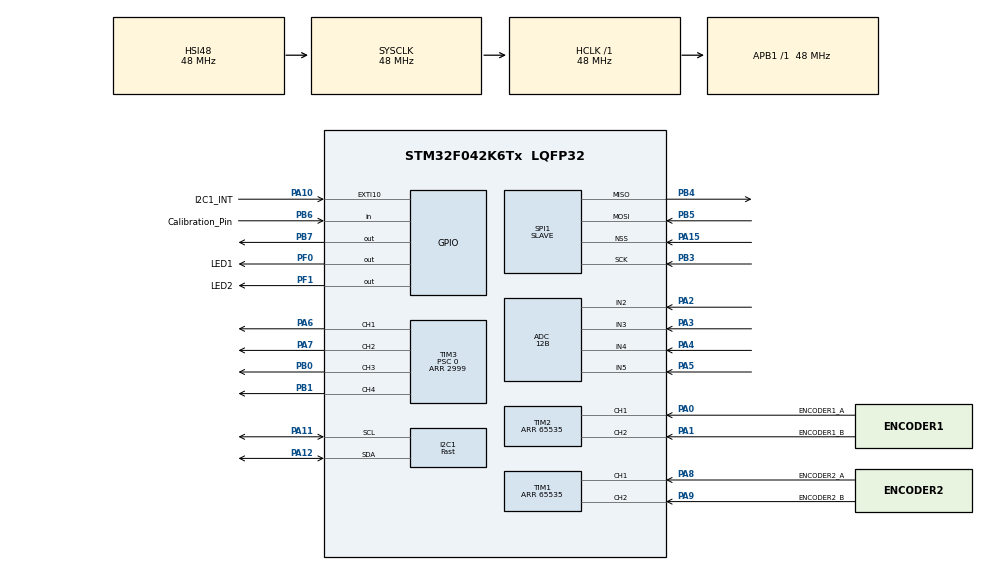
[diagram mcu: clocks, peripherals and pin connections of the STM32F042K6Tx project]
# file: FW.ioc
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ADC.ClockPrescaler=ADC_CLOCK_ASYNC_DIV1
ADC.ContinuousConvMode=ENABLE
ADC.DMAContinuousRequests=ENABLE
ADC.DataAlign=ADC_DATAALIGN_RIGHT
ADC.DiscontinuousConvMode=DISABLE
ADC.EOCSelection=ADC_EOC_SINGLE_CONV
ADC.EnableAnalogWatchDog=false
ADC.ExternalTrigConv=ADC_SOFTWARE_START
ADC.ExternalTrigConvEdge=ADC_EXTERNALTRIGCONVEDGE_NONE
ADC.LowPowerAutoPowerOff=DISABLE
ADC.LowPowerAutoWait=DISABLE
ADC.Overrun=ADC_OVR_DATA_PRESERVED
ADC.Resolution=ADC_RESOLUTION_12B
ADC.SamplingTime=ADC_SAMPLETIME_239CYCLES_5
ADC.ScanConvMode=ADC_SCAN_DIRECTION_FORWARD
Dma.ADC.0.Direction=DMA_PERIPH_TO_MEMORY
Dma.ADC.0.Instance=DMA1_Channel1
Dma.ADC.0.MemDataAlignment=DMA_MDATAALIGN_HALFWORD
Dma.ADC.0.MemInc=DMA_MINC_ENABLE
Dma.ADC.0.Mode=DMA_CIRCULAR
Dma.ADC.0.PeriphDataAlignment=DMA_PDATAALIGN_HALFWORD
Dma.ADC.0.PeriphInc=DMA_PINC_DISABLE
Dma.ADC.0.Priority=DMA_PRIORITY_LOW
Dma.Request0=ADC
Dma.Request1=SPI1_RX
Dma.Request2=SPI1_TX
Dma.SPI1_RX.1.Direction=DMA_PERIPH_TO_MEMORY
Dma.SPI1_RX.1.Instance=DMA1_Channel2
Dma.SPI1_RX.1.MemDataAlignment=DMA_MDATAALIGN_BYTE
Dma.SPI1_RX.1.MemInc=DMA_MINC_ENABLE
Dma.SPI1_RX.1.Mode=DMA_NORMAL
Dma.SPI1_RX.1.PeriphDataAlignment=DMA_PDATAALIGN_BYTE
Dma.SPI1_RX.1.PeriphInc=DMA_PINC_DISABLE
Dma.SPI1_RX.1.Priority=DMA_PRIORITY_VERY_HIGH
Dma.SPI1_TX.2.Direction=DMA_MEMORY_TO_PERIPH
Dma.SPI1_TX.2.Instance=DMA1_Channel3
Dma.SPI1_TX.2.MemDataAlignment=DMA_MDATAALIGN_BYTE
Dma.SPI1_TX.2.MemInc=DMA_MINC_ENABLE
Dma.SPI1_TX.2.Mode=DMA_NORMAL
Dma.SPI1_TX.2.PeriphDataAlignment=DMA_PDATAALIGN_BYTE
Dma.SPI1_TX.2.PeriphInc=DMA_PINC_DISABLE
Dma.SPI1_TX.2.Priority=DMA_PRIORITY_VERY_HIGH
I2C1.I2C_Speed_Mode=I2C_Fast
I2C1.Timing=0x0000020B
IWDG.Prescaler=IWDG_PRESCALER_4
IWDG.Reload=100
IWDG.Window=100
Mcu.Family=STM32F0
Mcu.Name=STM32F042K6Tx
Mcu.Package=LQFP32
NVIC.DMA1_Channel1_IRQn=true\:1\:0\:true\:false\:true\:false
NVIC.DMA1_Channel2_3_IRQn=true\:0\:0\:false\:false\:true\:false
NVIC.EXTI4_15_IRQn=true\:3\:0\:true\:false\:true\:true
NVIC.SPI1_IRQn=true\:0\:0\:true\:false\:true\:true
NVIC.TIM17_IRQn=true\:2\:0\:true\:false\:true\:false
NVIC.TimeBase=TIM17_IRQn
NVIC.TimeBaseIP=TIM17
PA0.GPIO_Label=ENCODER1_A
PA0.Signal=S_TIM2_CH1_ETR
PA1.GPIO_Label=ENCODER1_B
PA1.Signal=S_TIM2_CH2
PA10.GPIO_Label=I2C1_INT
PA10.GPIO_ModeDefaultEXTI=GPIO_MODE_IT_RISING
PA10.GPIO_PuPd=GPIO_PULLDOWN
PA10.Signal=GPXTI10
PA11.Mode=I2C
PA11.Signal=I2C1_SCL
PA12.Mode=I2C
PA12.Signal=I2C1_SDA
PA13.Mode=Serial_Wire
PA13.Signal=SYS_SWDIO
PA14.Mode=Serial_Wire
PA14.Signal=SYS_SWCLK
PA15.GPIO_PuPd=GPIO_PULLDOWN
PA15.Mode=NSS_Signal_Hard_Input
PA15.Signal=SPI1_NSS
PA2.Mode=IN2
PA2.Signal=ADC_IN2
PA3.Mode=IN3
PA3.Signal=ADC_IN3
PA4.Mode=IN4
PA4.Signal=ADC_IN4
PA5.Mode=IN5
PA5.Signal=ADC_IN5
PA6.Signal=S_TIM3_CH1
PA7.Signal=S_TIM3_CH2
PA8.GPIO_Label=ENCODER2_A
PA8.Signal=S_TIM1_CH1
PA9.GPIO_Label=ENCODER2_B
PA9.Signal=S_TIM1_CH2
PB0.Signal=S_TIM3_CH3
PB1.Signal=S_TIM3_CH4
PB3.Mode=Full_Duplex_Slave
PB3.Signal=SPI1_SCK
PB4.Mode=Full_Duplex_Slave
PB4.Signal=SPI1_MISO
PB5.Mode=Full_Duplex_Slave
PB5.Signal=SPI1_MOSI
PB6.GPIO_Label=Calibration_Pin
PB6.GPIO_PuPd=GPIO_PULLUP
PB6.Signal=GPIO_Input
PB7.Signal=GPIO_Output
PF0-OSC_IN.GPIO_Label=LED1
PF0-OSC_IN.Signal=GPIO_Output
PF1-OSC_OUT.GPIO_Label=LED2
PF1-OSC_OUT.Signal=GPIO_Output
ProjectManager.HeapSize=0x200
ProjectManager.StackSize=0x400
ProjectManager.TargetToolchain=MDK-ARM V5
RCC.AHBFreq_Value=48000000
RCC.APB1Freq_Value=48000000
RCC.APB1TimFreq_Value=48000000
RCC.HCLKFreq_Value=48000000
RCC.SYSCLKFreq_VALUE=48000000
RCC.SYSCLKSource=RCC_SYSCLKSOURCE_HSI48
SH.S_TIM1_CH1.0=TIM1_CH1,Encoder_Interface
SH.S_TIM1_CH2.0=TIM1_CH2,Encoder_Interface
SH.S_TIM2_CH1_ETR.0=TIM2_CH1,Encoder_Interface
SH.S_TIM2_CH2.0=TIM2_CH2,Encoder_Interface
SH.S_TIM3_CH1.0=TIM3_CH1,PWM Generation1 CH1
SH.S_TIM3_CH2.0=TIM3_CH2,PWM Generation2 CH2
SH.S_TIM3_CH3.0=TIM3_CH3,PWM Generation3 CH3
SH.S_TIM3_CH4.0=TIM3_CH4,PWM Generation4 CH4
SPI1.DataSize=SPI_DATASIZE_8BIT
SPI1.Direction=SPI_DIRECTION_2LINES
SPI1.Mode=SPI_MODE_SLAVE
SPI1.TIMode=SPI_TIMODE_DISABLE
SPI1.VirtualNSS=VM_NSSHARD
SPI1.VirtualType=VM_SLAVE
TIM1.EncoderMode=TIM_ENCODERMODE_TI12
TIM1.IC1Filter=8
TIM1.IC2Filter=8
TIM1.Period=65535
TIM2.EncoderMode=TIM_ENCODERMODE_TI12
TIM2.IC1Filter=8
TIM2.IC2Filter=8
TIM2.Period=65535
TIM3.Channel-PWM\ Generation1\ CH1=TIM_CHANNEL_1
TIM3.Channel-PWM\ Generation2\ CH2=TIM_CHANNEL_2
TIM3.Channel-PWM\ Generation3\ CH3=TIM_CHANNEL_3
TIM3.Channel-PWM\ Generation4\ CH4=TIM_CHANNEL_4
TIM3.CounterMode=TIM_COUNTERMODE_UP
TIM3.Period=2999
TIM3.Prescaler=0
VP_IWDG_VS_IWDG.Mode=IWDG_Activate
VP_SYS_VS_tim17.Mode=TIM17
board=FW

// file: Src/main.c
/**
  ******************************************************************************
  * File Name          : main.c
  * Description        : Main program body
  ******************************************************************************
  ** This notice applies to any and all portions of this file
  * that are not between comment pairs USER CODE BEGIN and
  * USER CODE END. Other portions of this file, whether
  * inserted by the user or by software development tools
  * are owned by their respective copyright owners.
  *
  * COPYRIGHT(c) 2017 STMicroelectronics
  *
  * Redistribution and use in source and binary forms, with or without modification,
  * are permitted provided that the following conditions are met:
  *   1. Redistributions of source code must retain the above copyright notice,
  *      this list of conditions and the following disclaimer.
  *   2. Redistributions in binary form must reproduce the above copyright notice,
  *      this list of conditions and the following disclaimer in the documentation
  *      and/or other materials provided with the distribution.
  *   3. Neither the name of STMicroelectronics nor the names of its contributors
  *      may be used to endorse or promote products derived from this software
  *      without specific prior written permission.
  *
  * THIS SOFTWARE IS PROVIDED BY THE COPYRIGHT HOLDERS AND CONTRIBUTORS "AS IS"
  * AND ANY EXPRESS OR IMPLIED WARRANTIES, INCLUDING, BUT NOT LIMITED TO, THE
  * IMPLIED WARRANTIES OF MERCHANTABILITY AND FITNESS FOR A PARTICULAR PURPOSE ARE
  * DISCLAIMED. IN NO EVENT SHALL THE COPYRIGHT HOLDER OR CONTRIBUTORS BE LIABLE
  * FOR ANY DIRECT, INDIRECT, INCIDENTAL, SPECIAL, EXEMPLARY, OR CONSEQUENTIAL
  * DAMAGES (INCLUDING, BUT NOT LIMITED TO, PROCUREMENT OF SUBSTITUTE GOODS OR
  * SERVICES; LOSS OF USE, DATA, OR PROFITS; OR BUSINESS INTERRUPTION) HOWEVER
  * CAUSED AND ON ANY THEORY OF LIABILITY, WHETHER IN CONTRACT, STRICT LIABILITY,
  * OR TORT (INCLUDING NEGLIGENCE OR OTHERWISE) ARISING IN ANY WAY OUT OF THE USE
  * OF THIS SOFTWARE, EVEN IF ADVISED OF THE POSSIBILITY OF SUCH DAMAGE.
  *
  ******************************************************************************
  */

#include "main.h"
#include "stm32f0xx_hal.h"

/* USER CODE BEGIN Includes */

#include "eeprom.h"
/* Virtual address defined by the user: 0xFFFF value is prohibited */
uint16_t VirtAddVarTab[NB_OF_VAR] = {0x0010, 0x0020, 0x0030, 0x0040, 0x0050};
uint16_t VarDataTab[NB_OF_VAR] = {0, 0, 0, 0, 0};
uint16_t VarValue = 0;

#define rr           	            0x01
#define PD_Controller           	0x02
#define Enable_Motor 							0x04
#define PI_Steering						    0x08
#define Car_mode                  0x10
#define acc_calibation_mode       0x20
#define gyro_calibation_mode      0x40
#define Manual_Motor_control 			0x80

/* USER CODE END Includes */

ADC_HandleTypeDef hadc;
DMA_HandleTypeDef hdma_adc;

I2C_HandleTypeDef hi2c1;

IWDG_HandleTypeDef hiwdg;

SPI_HandleTypeDef hspi1;
DMA_HandleTypeDef hdma_spi1_rx;
DMA_HandleTypeDef hdma_spi1_tx;

TIM_HandleTypeDef htim1;
TIM_HandleTypeDef htim2;
TIM_HandleTypeDef htim3;

/* USER CODE BEGIN PV */
/* Private variables ---------------------------------------------------------*/

/* USER CODE END PV */

void SystemClock_Config(void);
static void MX_GPIO_Init(void);
static void MX_DMA_Init(void);
static void MX_ADC_Init(void);
static void MX_I2C1_Init(void);
static void MX_IWDG_Init(void);
static void MX_SPI1_Init(void);
static void MX_TIM1_Init(void);
static void MX_TIM2_Init(void);
static void MX_TIM3_Init(void);

void HAL_TIM_MspPostInit(TIM_HandleTypeDef *htim);

/* USER CODE BEGIN PFP */
/* Private function prototypes -----------------------------------------------*/

typedef struct __attribute((__packed__))Control_data{

		uint16_t mode;  // / BIT define 7:   6:    5:    4:Car   3:ON/OFF PI Steering Controller    2:ON/OFF Motors     1:ON/OFF PD Angle Controller    0:Set Calibate Sensor Offset

	uint16_t AreRobotStanding;

		int16_t Pitch_Ref, Steering_Ref;

		int16_t Power_MotorL, Power_MotorR;

		int16_t roll, pitch, yaw;

		int16_t GyroX, GyroY, GyroZ;

		int16_t AccX, AccY, AccZ;

		int16_t OffsetGyroX, OffsetGyroY, OffsetGyroZ;

		int16_t OffsetAccX, OffsetAccY, OffsetAccZ;

		uint16_t VR1, VR2, VR3, VR4;

		int32_t Position_motorL, Position_motorR;

}Control_data;

Control_data State_data;

float Ramp;

float Robot_speed  = 0;
float Wheel_L_speed  = 0;
float Wheel_R_speed  = 0;

float cal_pitch ;
float cal_roll  ;
float turn_speed;
float turn  ;
float motor_A_tmp ;
float motor_B_tmp ;
float motor_Y_tmp ;
float error_turn;
float error_turn_sum;
float Robot_Target_Angle;

void Read_epprom(void){
  HAL_FLASH_Unlock();
  EE_Init();

  EE_ReadVariable(VirtAddVarTab[0], (uint16_t*)&(State_data.OffsetAccX));
  EE_ReadVariable(VirtAddVarTab[1], (uint16_t*)&(State_data.OffsetAccY));
  EE_ReadVariable(VirtAddVarTab[2], (uint16_t*)&(State_data.OffsetGyroX));
  EE_ReadVariable(VirtAddVarTab[3], (uint16_t*)&(State_data.OffsetGyroY));
  EE_ReadVariable(VirtAddVarTab[4], (uint16_t*)&(State_data.OffsetGyroZ));
	HAL_FLASH_Lock();
}

void Write_epprom(void){
  HAL_FLASH_Unlock();
  EE_Init();

	EE_WriteVariable(VirtAddVarTab[0], (uint16_t)(State_data.OffsetAccX));
	EE_WriteVariable(VirtAddVarTab[1], (uint16_t)(State_data.OffsetAccY));
	EE_WriteVariable(VirtAddVarTab[2], (uint16_t)(State_data.OffsetGyroX));
	EE_WriteVariable(VirtAddVarTab[3], (uint16_t)(State_data.OffsetGyroY));
	EE_WriteVariable(VirtAddVarTab[4], (uint16_t)(State_data.OffsetGyroZ));
	HAL_FLASH_Lock();
}

/* USER CODE END PFP */

/* USER CODE BEGIN 0 */

int32_t EncoderL, EncoderR;
const uint8_t AdcBufferSize = 40 ;
uint16_t ADC_Raw_Data[AdcBufferSize] = {0};
uint16_t VR_Data[4] = {0};
uint8_t Blink_led1_freq = 80;
uint8_t Cal_pin = 0, cal_gyro_man = 0, cal_acc_man = 0;

#include "bs_bb_lib.h"

/* USER CODE END 0 */

int main(void)
{

  /* USER CODE BEGIN 1 */
	State_data.mode = 0;
  /* USER CODE END 1 */

  /* MCU Configuration----------------------------------------------------------*/

  /* Reset of all peripherals, Initializes the Flash interface and the Systick. */
  HAL_Init();

  /* Configure the system clock */
  SystemClock_Config();

  /* Initialize all configured peripherals */
  MX_GPIO_Init();
  MX_DMA_Init();
  MX_ADC_Init();
  MX_I2C1_Init();
 // MX_IWDG_Init();
  MX_SPI1_Init();
  MX_TIM1_Init();
  MX_TIM2_Init();
  MX_TIM3_Init();

  /* USER CODE BEGIN 2 */

	HAL_SPI_Receive_DMA(&hspi1, (uint8_t*)&spi_rx_cmd, 1);

	/* EEPROM Init */

	Read_epprom();

	HAL_ADC_Start_DMA(&hadc, (uint32_t*)ADC_Raw_Data, AdcBufferSize);
	HAL_TIM_Encoder_Start(&htim1, TIM_CHANNEL_ALL);
	HAL_TIM_Encoder_Start(&htim2, TIM_CHANNEL_ALL);

	TIM1->CNT = 15000;
	TIM2->CNT = 15000;

	HAL_TIM_PWM_Start(&htim3,TIM_CHANNEL_1);
	HAL_TIM_PWM_Start(&htim3,TIM_CHANNEL_2);
	HAL_TIM_PWM_Start(&htim3,TIM_CHANNEL_3);
	HAL_TIM_PWM_Start(&htim3,TIM_CHANNEL_4);

	Initial_MPU6050();

  /* USER CODE END 2 */

  /* Infinite loop */
  /* USER CODE BEGIN WHILE */

	HAL_GPIO_WritePin(LED1_GPIO_Port, LED1_Pin, GPIO_PIN_SET);
	HAL_GPIO_WritePin(LED2_GPIO_Port, LED2_Pin, GPIO_PIN_SET);
	HAL_Delay(200);

	HAL_GPIO_WritePin(LED1_GPIO_Port, LED1_Pin, GPIO_PIN_RESET);
	HAL_GPIO_WritePin(LED2_GPIO_Port, LED2_Pin, GPIO_PIN_RESET);

	int count = 0;

	uint32_t timenow, time1, time2;

	MX_IWDG_Init();
  while (1)
  {
  /* USER CODE END WHILE */

  /* USER CODE BEGIN 3 */
		HAL_IWDG_Refresh(&hiwdg);
		timenow = milli();

//		if(timenow - time1 >= 20){
//			time1 = timenow;
//
//			float dR =  ((int)TIM2->CNT - 15000);
//			float dL = -((int)TIM1->CNT - 15000);
//			TIM2->CNT = 15000;
//			TIM1->CNT = 15000;
//
//			EncoderR += dR;
//			EncoderL += dL;
//
//			Wheel_R_speed  = (int)Smooth_filter(0.4f, dR, Wheel_R_speed);
//			Wheel_L_speed  = (int)Smooth_filter(0.4f, dL, Wheel_L_speed);
//
//			Robot_speed  = Smooth_filter(0.1f, (dR+dL) * 0.5f, Robot_speed);
//
//
//			speed = Smooth_filter(0.3f, (float)ch2*0.9f, speed);
//			turn = Smooth_filter(0.3f, (float)ch1*0.8f, turn);
//
//			if(((State_data.mode)&(0x01<<3)) == PI_Controller) {
//
//				error_speed = constrain(Kp_Speed *(-speed + Robot_speed), -15, 15);
//				error_speed_sum = constrain((error_speed_sum + error_speed * 0.02f), -20/Ki_Speed, 20/Ki_Speed);
//				Robot_Target_Angle = constrain(Ki_Speed * error_speed_sum + error_speed, -25, 25);
//
//			}
//		}

		if(_Sampling_task_do){
			static float buffer_az;
			_Sampling_task_do = 0;

			int16_t dL =  ((int)TIM2->CNT - 15000);
			int16_t dR = -((int)TIM1->CNT - 15000);
			TIM2->CNT = 15000;
			TIM1->CNT = 15000;

			State_data.Position_motorL += dL;
			State_data.Position_motorR += dR;

			Read_MPU6050();
			AHRS();

			buffer_az = Smooth_filter(0.2f, (float)rawAccx_Z/ACCELEROMETER_SENSITIVITY, buffer_az);
			State_data.AreRobotStanding = (abs_user(q_pitch) < 500) && (buffer_az < 0);

			if(((State_data.mode)&(PD_Controller)) == PD_Controller) {

				float Buf_D_Errer_pitch = Errer_pitch;

				Robot_Target_Angle = constrain((float)State_data.Pitch_Ref * 0.1f, -45, 45);

				cal_pitch = Smooth_filter(0.95f, (float)q_pitch*0.1f, cal_pitch);
				cal_roll = Smooth_filter(0.95f, (float)q_roll*0.1f, cal_roll);

				Errer_pitch =  - Robot_Target_Angle + (float)cal_pitch;

				D_Error_pitch = Butterworth_filter(&filed_pitch,(Errer_pitch-Buf_D_Errer_pitch) * sampleFreq * 0.1f);

				Del_pitch	= (Kp_pitch * Errer_pitch) + (Kd_pitch * D_Error_pitch);

			} else{

				Del_pitch = constrain((float)State_data.Pitch_Ref, -2999, 2999);

			}

			if(((State_data.mode)&(PI_Steering)) == PI_Steering) {
				static float cal_yaw;

				turn = constrain((float)State_data.Steering_Ref * 0.1f, -2000, 2000);
				cal_yaw = Smooth_filter(0.90f, ((float)rawGyrox_Z)/GYROSCOPE_SENSITIVITY, cal_yaw);
				Error_yaw = turn - (cal_yaw);

				if(((State_data.mode)&(Enable_Motor)) == Enable_Motor){
					Sum_Error_yaw = constrain(Sum_Error_yaw + Error_yaw*period_dt, -300/Ki_yaw, 300/Ki_yaw);
				}else{
					Sum_Error_yaw = 0;
				}

				Del_yaw = (Error_yaw*Kp_yaw) + (Sum_Error_yaw*Ki_yaw);
			}else{

				Del_yaw = constrain((float)State_data.Steering_Ref, -2999, 2999);
			}

			motor_Y_tmp =  constrain(motor_Y_tmp + (float)Del_yaw  *0.02f, -2000, 2000);
			motor_A_tmp =  constrain(motor_A_tmp + (float)Del_pitch*0.02f, -2999, 2999);
			motor_B_tmp =  constrain(motor_B_tmp + (float)Del_pitch*0.02f, -2999, 2999);

			if(((State_data.mode)&(Car_mode)) == Car_mode){

				if(Robot_speed>0){

					motor_L = motor_A_tmp  + motor_Y_tmp;
					motor_R = motor_B_tmp  - motor_Y_tmp;

				}else{

					motor_L = motor_A_tmp  - motor_Y_tmp;
					motor_R = motor_B_tmp  + motor_Y_tmp;
				}

			}else{
				motor_L = motor_A_tmp  + motor_Y_tmp;
				motor_R = motor_B_tmp  - motor_Y_tmp;
			}

			if(timenow > 3000){

				if(Ramp < 1) Ramp += 0.004f;

				motor_L *=  Ramp;
				motor_R *=  Ramp;

				if(((State_data.mode)&(Manual_Motor_control)) == Manual_Motor_control){

					motor_L =  State_data.Power_MotorL;
					motor_R =  State_data.Power_MotorR;;

				}else{

				}

				if(((State_data.mode)&(Enable_Motor)) == Enable_Motor) {

					Drive_motor_output();

				}else{
					Ramp = 0;
					motor_Y_tmp =  0;
					motor_A_tmp =  0;
					motor_B_tmp =  0;

					motor_L =  0;
					motor_R =  0;

					Drive_motor_output();
				}
			}

			count++;
			if(count>Blink_led1_freq){
				count = 0;
				HAL_GPIO_WritePin(LED1_GPIO_Port, LED1_Pin, GPIO_PIN_SET);
				HAL_Delay(1);
				HAL_GPIO_WritePin(LED1_GPIO_Port, LED1_Pin, GPIO_PIN_RESET);
			}

		}

		if(timenow - time1 >= 10){
			time1 = timenow;
			uint32_t VR_Sum[4] = {0};
			for(int x = 0; x < (AdcBufferSize/4); x++){
				VR_Sum[0] += ADC_Raw_Data[x*4 + 0];
				VR_Sum[1] += ADC_Raw_Data[x*4 + 1];
				VR_Sum[2] += ADC_Raw_Data[x*4 + 2];
				VR_Sum[3] += ADC_Raw_Data[x*4 + 3];
			}

			for(int x = 0; x < 4; x++){
				VR_Data[x] = VR_Sum[x] / (AdcBufferSize/4);
			}

			State_data.VR1 = VR_Data[0];
			State_data.VR2 = VR_Data[1];
			State_data.VR3 = VR_Data[2];
			State_data.VR4 = VR_Data[3];

			Kp_pitch = (float)VR_Data[0] * 0.1f;
			Kd_pitch = (float)VR_Data[1] * 0.1f;
			Kp_yaw =   (float)VR_Data[2] * 0.015f;
			Ki_yaw =   (float)VR_Data[3] * 0.001f;

			Cal_pin = Cal_pin << 1;

			if( HAL_GPIO_ReadPin(Calibration_Pin_GPIO_Port, Calibration_Pin_Pin) ==  GPIO_PIN_RESET){
				Cal_pin = Cal_pin | 0x01;
			}

			if(Cal_pin == 0x0F) {
				cal_gyro_man = 1;
				cal_acc_man  = 1;
			}

		}

		if(timenow - time2 >= 10){
			time2 = timenow;
			HAL_GPIO_WritePin(LED2_GPIO_Port, LED2_Pin, GPIO_PIN_RESET);
		}
  }
  /* USER CODE END 3 */

}

/** System Clock Configuration
*/
void SystemClock_Config(void)
{

  RCC_OscInitTypeDef RCC_OscInitStruct;
  RCC_ClkInitTypeDef RCC_ClkInitStruct;
  RCC_PeriphCLKInitTypeDef PeriphClkInit;

    /**Initializes the CPU, AHB and APB busses clocks
    */
  RCC_OscInitStruct.OscillatorType = RCC_OSCILLATORTYPE_HSI|RCC_OSCILLATORTYPE_HSI14
                              |RCC_OSCILLATORTYPE_HSI48|RCC_OSCILLATORTYPE_LSI;
  RCC_OscInitStruct.HSIState = RCC_HSI_ON;
  RCC_OscInitStruct.HSI48State = RCC_HSI48_ON;
  RCC_OscInitStruct.HSI14State = RCC_HSI14_ON;
  RCC_OscInitStruct.HSICalibrationValue = 16;
  RCC_OscInitStruct.HSI14CalibrationValue = 16;
  RCC_OscInitStruct.LSIState = RCC_LSI_ON;
  RCC_OscInitStruct.PLL.PLLState = RCC_PLL_NONE;
  if (HAL_RCC_OscConfig(&RCC_OscInitStruct) != HAL_OK)
  {
    _Error_Handler(__FILE__, __LINE__);
  }

    /**Initializes the CPU, AHB and APB busses clocks
    */
  RCC_ClkInitStruct.ClockType = RCC_CLOCKTYPE_HCLK|RCC_CLOCKTYPE_SYSCLK
                              |RCC_CLOCKTYPE_PCLK1;
  RCC_ClkInitStruct.SYSCLKSource = RCC_SYSCLKSOURCE_HSI48;
  RCC_ClkInitStruct.AHBCLKDivider = RCC_SYSCLK_DIV1;
  RCC_ClkInitStruct.APB1CLKDivider = RCC_HCLK_DIV1;

  if (HAL_RCC_ClockConfig(&RCC_ClkInitStruct, FLASH_LATENCY_1) != HAL_OK)
  {
    _Error_Handler(__FILE__, __LINE__);
  }

  PeriphClkInit.PeriphClockSelection = RCC_PERIPHCLK_I2C1;
  PeriphClkInit.I2c1ClockSelection = RCC_I2C1CLKSOURCE_HSI;
  if (HAL_RCCEx_PeriphCLKConfig(&PeriphClkInit) != HAL_OK)
  {
    _Error_Handler(__FILE__, __LINE__);
  }

    /**Configure the Systick interrupt time
    */
  HAL_SYSTICK_Config(HAL_RCC_GetHCLKFreq()/1000);

    /**Configure the Systick
    */
  HAL_SYSTICK_CLKSourceConfig(SYSTICK_CLKSOURCE_HCLK);

  /* SysTick_IRQn interrupt configuration */
  HAL_NVIC_SetPriority(SysTick_IRQn, 0, 0);
}

/* ADC init function */
static void MX_ADC_Init(void)
{

  ADC_ChannelConfTypeDef sConfig;

    /**Configure the global features of the ADC (Clock, Resolution, Data Alignment and number of conversion)
    */
  hadc.Instance = ADC1;
  hadc.Init.ClockPrescaler = ADC_CLOCK_ASYNC_DIV1;
  hadc.Init.Resolution = ADC_RESOLUTION_12B;
  hadc.Init.DataAlign = ADC_DATAALIGN_RIGHT;
  hadc.Init.ScanConvMode = ADC_SCAN_DIRECTION_FORWARD;
  hadc.Init.EOCSelection = ADC_EOC_SINGLE_CONV;
  hadc.Init.LowPowerAutoWait = DISABLE;
  hadc.Init.LowPowerAutoPowerOff = DISABLE;
  hadc.Init.ContinuousConvMode = ENABLE;
  hadc.Init.DiscontinuousConvMode = DISABLE;
  hadc.Init.ExternalTrigConv = ADC_SOFTWARE_START;
  hadc.Init.ExternalTrigConvEdge = ADC_EXTERNALTRIGCONVEDGE_NONE;
  hadc.Init.DMAContinuousRequests = ENABLE;
  hadc.Init.Overrun = ADC_OVR_DATA_PRESERVED;
  if (HAL_ADC_Init(&hadc) != HAL_OK)
  {
    _Error_Handler(__FILE__, __LINE__);
  }

    /**Configure for the selected ADC regular channel to be converted.
    */
  sConfig.Channel = ADC_CHANNEL_2;
  sConfig.Rank = ADC_RANK_CHANNEL_NUMBER;
  sConfig.SamplingTime = ADC_SAMPLETIME_239CYCLES_5;
  if (HAL_ADC_ConfigChannel(&hadc, &sConfig) != HAL_OK)
  {
    _Error_Handler(__FILE__, __LINE__);
  }

    /**Configure for the selected ADC regular channel to be converted.
    */
  sConfig.Channel = ADC_CHANNEL_3;
  if (HAL_ADC_ConfigChannel(&hadc, &sConfig) != HAL_OK)
  {
    _Error_Handler(__FILE__, __LINE__);
  }

    /**Configure for the selected ADC regular channel to be converted.
    */
  sConfig.Channel = ADC_CHANNEL_4;
  if (HAL_ADC_ConfigChannel(&hadc, &sConfig) != HAL_OK)
  {
    _Error_Handler(__FILE__, __LINE__);
  }

    /**Configure for the selected ADC regular channel to be converted.
    */
  sConfig.Channel = ADC_CHANNEL_5;
  if (HAL_ADC_ConfigChannel(&hadc, &sConfig) != HAL_OK)
  {
    _Error_Handler(__FILE__, __LINE__);
  }

}

/* I2C1 init function */
static void MX_I2C1_Init(void)
{

  hi2c1.Instance = I2C1;
  hi2c1.Init.Timing = 0x0000020B;
  hi2c1.Init.OwnAddress1 = 0;
  hi2c1.Init.AddressingMode = I2C_ADDRESSINGMODE_7BIT;
  hi2c1.Init.DualAddressMode = I2C_DUALADDRESS_DISABLE;
  hi2c1.Init.OwnAddress2 = 0;
  hi2c1.Init.OwnAddress2Masks = I2C_OA2_NOMASK;
  hi2c1.Init.GeneralCallMode = I2C_GENERALCALL_DISABLE;
  hi2c1.Init.NoStretchMode = I2C_NOSTRETCH_DISABLE;
  if (HAL_I2C_Init(&hi2c1) != HAL_OK)
  {
    _Error_Handler(__FILE__, __LINE__);
  }

    /**Configure Analogue filter
    */
  if (HAL_I2CEx_ConfigAnalogFilter(&hi2c1, I2C_ANALOGFILTER_ENABLE) != HAL_OK)
  {
    _Error_Handler(__FILE__, __LINE__);
  }

    /**Configure Digital filter
    */
  if (HAL_I2CEx_ConfigDigitalFilter(&hi2c1, 0) != HAL_OK)
  {
    _Error_Handler(__FILE__, __LINE__);
  }

}

/* IWDG init function */
static void MX_IWDG_Init(void)
{

  hiwdg.Instance = IWDG;
  hiwdg.Init.Prescaler = IWDG_PRESCALER_4 ;
  hiwdg.Init.Window = 100;
  hiwdg.Init.Reload = 100;
  if (HAL_IWDG_Init(&hiwdg) != HAL_OK)
  {
    _Error_Handler(__FILE__, __LINE__);
  }

}

/* SPI1 init function */
static void MX_SPI1_Init(void)
{

  /* SPI1 parameter configuration*/
  hspi1.Instance = SPI1;
  hspi1.Init.Mode = SPI_MODE_SLAVE;
  hspi1.Init.Direction = SPI_DIRECTION_2LINES;
  hspi1.Init.DataSize = SPI_DATASIZE_8BIT;
  hspi1.Init.CLKPolarity = SPI_POLARITY_LOW;
  hspi1.Init.CLKPhase = SPI_PHASE_1EDGE;
  hspi1.Init.NSS = SPI_NSS_HARD_INPUT;
  hspi1.Init.FirstBit = SPI_FIRSTBIT_MSB;
  hspi1.Init.TIMode = SPI_TIMODE_DISABLE;
  hspi1.Init.CRCCalculation = SPI_CRCCALCULATION_DISABLE;
  hspi1.Init.CRCPolynomial = 7;
  hspi1.Init.CRCLength = SPI_CRC_LENGTH_DATASIZE;
  hspi1.Init.NSSPMode = SPI_NSS_PULSE_DISABLE;
  if (HAL_SPI_Init(&hspi1) != HAL_OK)
  {
    _Error_Handler(__FILE__, __LINE__);
  }

}

/* TIM1 init function */
static void MX_TIM1_Init(void)
{

  TIM_Encoder_InitTypeDef sConfig;
  TIM_MasterConfigTypeDef sMasterConfig;

  htim1.Instance = TIM1;
  htim1.Init.Prescaler = 0;
  htim1.Init.CounterMode = TIM_COUNTERMODE_UP;
  htim1.Init.Period = 65535;
  htim1.Init.ClockDivision = TIM_CLOCKDIVISION_DIV1;
  htim1.Init.RepetitionCounter = 0;
  htim1.Init.AutoReloadPreload = TIM_AUTORELOAD_PRELOAD_DISABLE;
  sConfig.EncoderMode = TIM_ENCODERMODE_TI12;
  sConfig.IC1Polarity = TIM_ICPOLARITY_RISING;
  sConfig.IC1Selection = TIM_ICSELECTION_DIRECTTI;
  sConfig.IC1Prescaler = TIM_ICPSC_DIV1;
  sConfig.IC1Filter = 8;
  sConfig.IC2Polarity = TIM_ICPOLARITY_RISING;
  sConfig.IC2Selection = TIM_ICSELECTION_DIRECTTI;
  sConfig.IC2Prescaler = TIM_ICPSC_DIV1;
  sConfig.IC2Filter = 8;
  if (HAL_TIM_Encoder_Init(&htim1, &sConfig) != HAL_OK)
  {
    _Error_Handler(__FILE__, __LINE__);
  }

  sMasterConfig.MasterOutputTrigger = TIM_TRGO_RESET;
  sMasterConfig.MasterSlaveMode = TIM_MASTERSLAVEMODE_DISABLE;
  if (HAL_TIMEx_MasterConfigSynchronization(&htim1, &sMasterConfig) != HAL_OK)
  {
    _Error_Handler(__FILE__, __LINE__);
  }

}

/* TIM2 init function */
static void MX_TIM2_Init(void)
{

  TIM_Encoder_InitTypeDef sConfig;
  TIM_MasterConfigTypeDef sMasterConfig;

  htim2.Instance = TIM2;
  htim2.Init.Prescaler = 0;
  htim2.Init.CounterMode = TIM_COUNTERMODE_UP;
  htim2.Init.Period = 65535;
  htim2.Init.ClockDivision = TIM_CLOCKDIVISION_DIV1;
  htim2.Init.AutoReloadPreload = TIM_AUTORELOAD_PRELOAD_DISABLE;
  sConfig.EncoderMode = TIM_ENCODERMODE_TI12;
  sConfig.IC1Polarity = TIM_ICPOLARITY_RISING;
  sConfig.IC1Selection = TIM_ICSELECTION_DIRECTTI;
  sConfig.IC1Prescaler = TIM_ICPSC_DIV1;
  sConfig.IC1Filter = 8;
  sConfig.IC2Polarity = TIM_ICPOLARITY_RISING;
  sConfig.IC2Selection = TIM_ICSELECTION_DIRECTTI;
  sConfig.IC2Prescaler = TIM_ICPSC_DIV1;
  sConfig.IC2Filter = 8;
  if (HAL_TIM_Encoder_Init(&htim2, &sConfig) != HAL_OK)
  {
    _Error_Handler(__FILE__, __LINE__);
  }

  sMasterConfig.MasterOutputTrigger = TIM_TRGO_RESET;
  sMasterConfig.MasterSlaveMode = TIM_MASTERSLAVEMODE_DISABLE;
  if (HAL_TIMEx_MasterConfigSynchronization(&htim2, &sMasterConfig) != HAL_OK)
  {
    _Error_Handler(__FILE__, __LINE__);
  }

}

/* TIM3 init function */
static void MX_TIM3_Init(void)
{

  TIM_MasterConfigTypeDef sMasterConfig;
  TIM_OC_InitTypeDef sConfigOC;

  htim3.Instance = TIM3;
  htim3.Init.Prescaler = 0;
  htim3.Init.CounterMode = TIM_COUNTERMODE_UP;
  htim3.Init.Period = 2999;
  htim3.Init.ClockDivision = TIM_CLOCKDIVISION_DIV1;
  htim3.Init.AutoReloadPreload = TIM_AUTORELOAD_PRELOAD_DISABLE;
  if (HAL_TIM_PWM_Init(&htim3) != HAL_OK)
  {
    _Error_Handler(__FILE__, __LINE__);
  }

  sMasterConfig.MasterOutputTrigger = TIM_TRGO_RESET;
  sMasterConfig.MasterSlaveMode = TIM_MASTERSLAVEMODE_DISABLE;
  if (HAL_TIMEx_MasterConfigSynchronization(&htim3, &sMasterConfig) != HAL_OK)
  {
    _Error_Handler(__FILE__, __LINE__);
  }

  sConfigOC.OCMode = TIM_OCMODE_PWM1;
  sConfigOC.Pulse = 0;
  sConfigOC.OCPolarity = TIM_OCPOLARITY_HIGH;
  sConfigOC.OCFastMode = TIM_OCFAST_DISABLE;
  if (HAL_TIM_PWM_ConfigChannel(&htim3, &sConfigOC, TIM_CHANNEL_1) != HAL_OK)
  {
    _Error_Handler(__FILE__, __LINE__);
  }

  if (HAL_TIM_PWM_ConfigChannel(&htim3, &sConfigOC, TIM_CHANNEL_2) != HAL_OK)
  {
    _Error_Handler(__FILE__, __LINE__);
  }

  if (HAL_TIM_PWM_ConfigChannel(&htim3, &sConfigOC, TIM_CHANNEL_3) != HAL_OK)
  {
    _Error_Handler(__FILE__, __LINE__);
  }

  if (HAL_TIM_PWM_ConfigChannel(&htim3, &sConfigOC, TIM_CHANNEL_4) != HAL_OK)
  {
    _Error_Handler(__FILE__, __LINE__);
  }

  HAL_TIM_MspPostInit(&htim3);

}

static void MX_DMA_Init(void)
{
  /* DMA controller clock enable */
  __HAL_RCC_DMA1_CLK_ENABLE();

  /* DMA interrupt init */
  /* DMA1_Channel1_IRQn interrupt configuration */
  HAL_NVIC_SetPriority(DMA1_Channel1_IRQn, 1, 0);
  HAL_NVIC_EnableIRQ(DMA1_Channel1_IRQn);
  /* DMA1_Channel2_3_IRQn interrupt configuration */
  HAL_NVIC_SetPriority(DMA1_Channel2_3_IRQn, 0, 0);
  HAL_NVIC_EnableIRQ(DMA1_Channel2_3_IRQn);

}

/** Configure pins as
        * Analog
        * Input
        * Output
        * EVENT_OUT
        * EXTI
*/
static void MX_GPIO_Init(void)
{

  GPIO_InitTypeDef GPIO_InitStruct;

  /* GPIO Ports Clock Enable */
  __HAL_RCC_GPIOF_CLK_ENABLE();
  __HAL_RCC_GPIOA_CLK_ENABLE();
  __HAL_RCC_GPIOB_CLK_ENABLE();

  /*Configure GPIO pin Output Level */
  HAL_GPIO_WritePin(GPIOF, LED1_Pin|LED2_Pin, GPIO_PIN_RESET);

  /*Configure GPIO pin Output Level */
  HAL_GPIO_WritePin(GPIOB, GPIO_PIN_7, GPIO_PIN_RESET);

  /*Configure GPIO pins : LED1_Pin LED2_Pin */
  GPIO_InitStruct.Pin = LED1_Pin|LED2_Pin;
  GPIO_InitStruct.Mode = GPIO_MODE_OUTPUT_PP;
  GPIO_InitStruct.Pull = GPIO_NOPULL;
  GPIO_InitStruct.Speed = GPIO_SPEED_FREQ_LOW;
  HAL_GPIO_Init(GPIOF, &GPIO_InitStruct);

  /*Configure GPIO pin : I2C1_INT_Pin */
  GPIO_InitStruct.Pin = I2C1_INT_Pin;
  GPIO_InitStruct.Mode = GPIO_MODE_IT_RISING;
  GPIO_InitStruct.Pull = GPIO_PULLDOWN;
  HAL_GPIO_Init(I2C1_INT_GPIO_Port, &GPIO_InitStruct);

  /*Configure GPIO pin : Calibration_Pin_Pin */
  GPIO_InitStruct.Pin = Calibration_Pin_Pin;
  GPIO_InitStruct.Mode = GPIO_MODE_INPUT;
  GPIO_InitStruct.Pull = GPIO_PULLUP;
  HAL_GPIO_Init(Calibration_Pin_GPIO_Port, &GPIO_InitStruct);

  /*Configure GPIO pin : PB7 */
  GPIO_InitStruct.Pin = GPIO_PIN_7;
  GPIO_InitStruct.Mode = GPIO_MODE_OUTPUT_PP;
  GPIO_InitStruct.Pull = GPIO_NOPULL;
  GPIO_InitStruct.Speed = GPIO_SPEED_FREQ_LOW;
  HAL_GPIO_Init(GPIOB, &GPIO_InitStruct);

  /* EXTI interrupt init*/
  HAL_NVIC_SetPriority(EXTI4_15_IRQn, 3, 0);
  HAL_NVIC_EnableIRQ(EXTI4_15_IRQn);

}

/* USER CODE BEGIN 4 */
void Read_MPU6050(void)
{

	int16_t AccelGyro[6]={0};
    uint8_t tmpBuffer[14];
	HAL_I2C_Mem_Read(&hi2c1,MPU6050_DEFAULT_ADDRESS,MPU6050_RA_ACCEL_XOUT_H,1,tmpBuffer,14,2);
    /* Get acceleration */
    for (int i = 0; i < 3; i++)
        AccelGyro[i] = ((int16_t) ((uint16_t) tmpBuffer[2 * i] << 8) + tmpBuffer[2 * i + 1]);
    /* Get Angular rate */
    for (int i = 4; i < 7; i++)
        AccelGyro[i - 1] = ((int16_t) ((uint16_t) tmpBuffer[2 * i] << 8) + tmpBuffer[2 * i + 1]);

	rawAccx_X  =  AccelGyro[0];
	rawAccx_Y  =  AccelGyro[1];
	rawAccx_Z  =  AccelGyro[2];
	rawGyrox_X =  AccelGyro[3];
	rawGyrox_Y =  AccelGyro[4];
	rawGyrox_Z =  AccelGyro[5];

	Blink_led1_freq = 80;
	if((((State_data.mode)&(gyro_calibation_mode)) == gyro_calibation_mode) || cal_gyro_man == 1) {
		static uint16_t calibate_cout;
		calibate_cout++;
		Blink_led1_freq = 25;

		gyx_d = Smooth_filter(0.005f, rawGyrox_X, gyx_d);
		gyy_d = Smooth_filter(0.005f, rawGyrox_Y, gyy_d);
		gyz_d = Smooth_filter(0.005f, rawGyrox_Z, gyz_d);
//		acx_d = Smooth_filter(0.005f, rawAccx_X, acx_d);
//		acy_d = Smooth_filter(0.005f, rawAccx_Y, acy_d);
//		acz_d = Smooth_filter(0.005f, rawAccx_Z, acz_d);

   if(calibate_cout > 4000){
		 calibate_cout = 0;
		 cal_gyro_man = 0;
		 State_data.mode = State_data.mode & (0xff - gyro_calibation_mode);

		 State_data.OffsetGyroX = gyx_d;
		 State_data.OffsetGyroY = gyy_d;
		 State_data.OffsetGyroZ = gyz_d;
//		 State_data.OffsetAccX  = acx_d;
//		 State_data.OffsetAccY  = acy_d;
//		 State_data.OffsetAccZ  = acz_d;
		 Write_epprom();
	 }
	}

		if((((State_data.mode)&(acc_calibation_mode)) == acc_calibation_mode)|| cal_acc_man == 1 ) {
		static uint16_t calibate_cout;
		calibate_cout++;
		Blink_led1_freq = 25;

//		gyx_d = Smooth_filter(0.005f, rawGyrox_X, gyx_d);
//		gyy_d = Smooth_filter(0.005f, rawGyrox_Y, gyy_d);
//		gyz_d = Smooth_filter(0.005f, rawGyrox_Z, gyz_d);
		acx_d = Smooth_filter(0.005f, rawAccx_X, acx_d);
		acy_d = Smooth_filter(0.005f, rawAccx_Y, acy_d);
		acz_d = Smooth_filter(0.005f, rawAccx_Z, acz_d);

   if(calibate_cout > 4000){
		 calibate_cout = 0;
		 cal_acc_man = 0;
		 State_data.mode = State_data.mode & (0xff - acc_calibation_mode);

//		 State_data.OffsetGyroX = gyx_d;
//		 State_data.OffsetGyroY = gyy_d;
//		 State_data.OffsetGyroZ = gyz_d;
		 State_data.OffsetAccX  = acx_d;
		 State_data.OffsetAccY  = acy_d;
		 State_data.OffsetAccZ  = acz_d;
		 Write_epprom();
	 }
	}

		rawGyrox_X -= State_data.OffsetGyroX;
		rawGyrox_Y -= State_data.OffsetGyroY;
		rawGyrox_Z -= State_data.OffsetGyroZ;

		rawAccx_X -= State_data.OffsetAccX;
		rawAccx_Y -= State_data.OffsetAccY;

}

void Drive_motor_output(void)
{
	if(motor_L > 0){
		TIM3->CCR1 = constrain(2999, 0, 2999);
		TIM3->CCR2 = constrain(2999-motor_L, 0, 2999);
	}else{
		TIM3->CCR2 = constrain(2999, 0, 2999);
		TIM3->CCR1 = constrain(2999+motor_L, 0, 2999);
	}

	if(motor_R < 0){
		TIM3->CCR3 = constrain(2999, 0, 2999);
		TIM3->CCR4 = constrain(2999+ motor_R, 0, 2999);
	}else{
		TIM3->CCR4 = constrain(2999, 0, 2999);
		TIM3->CCR3 = constrain(2999-motor_R, 0, 2999);
	}
}

void HAL_SPI_TxCpltCallback(SPI_HandleTypeDef *hspi){
	HAL_SPI_Receive_DMA(&hspi1, (uint8_t*)&spi_rx_cmd, 1);
	HAL_GPIO_WritePin(LED2_GPIO_Port, LED2_Pin, GPIO_PIN_SET);
}

void HAL_SPI_RxCpltCallback(SPI_HandleTypeDef *hspi){

	uint8_t tmp_spi_rx_cmd = spi_rx_cmd;
	spi_rx_cmd = 0;
	switch (tmp_spi_rx_cmd)
  {

  	case 0x01: //Set_Mode
				HAL_SPI_Receive_DMA(&hspi1, (uint8_t*)&State_data.mode, 2);
  		break;
  	case 0x02: //Set_Control
				HAL_SPI_Receive_DMA(&hspi1, (uint8_t*)&State_data.Pitch_Ref, 4);
  		break;
		case 0x03: //Get_Angles
				HAL_SPI_Transmit_DMA(&hspi1, (uint8_t*)&State_data.roll, 6);
  		break;
		case 0x04: //Get_AngularVelocity
				HAL_SPI_Transmit_DMA(&hspi1, (uint8_t*)&State_data.GyroX, 6);
  		break;
  	case 0x05: //Get_OffsetAngularVelocity
				HAL_SPI_Transmit_DMA(&hspi1, (uint8_t*)&State_data.OffsetGyroX, 6);
  		break;
		case 0x06: //Get_Accelerations
				HAL_SPI_Transmit_DMA(&hspi1, (uint8_t*)&State_data.AccX, 6);
  		break;
		case 0x07: //Get_OffsetAccelerations
				HAL_SPI_Transmit_DMA(&hspi1, (uint8_t*)&State_data.OffsetAccX, 6);
  		break;
  	case 0x08: //Get_VRs
				HAL_SPI_Transmit_DMA(&hspi1, (uint8_t*)&State_data.VR1, 8);
  		break;
		case 0x09: //Get_Positions
				HAL_SPI_Transmit_DMA(&hspi1, (uint8_t*)&State_data.Position_motorL, 8);
  		break;
		case 0x0A: //Get_Power_motorControl
				HAL_SPI_Receive_DMA(&hspi1, (uint8_t*)&State_data.Power_MotorL, 4);
  		break;

  	default:
				HAL_SPI_Receive_DMA(&hspi1, (uint8_t*)&spi_rx_cmd, 1);
  		break;
  }

}

void HAL_SPI_TxRxCpltCallback(SPI_HandleTypeDef *hspi)
{

}

/* USER CODE END 4 */

void HAL_TIM_PeriodElapsedCallback(TIM_HandleTypeDef *htim)
{
  if (htim->Instance == TIM17) {
    HAL_IncTick();
  }
}

void _Error_Handler(char * file, int line)
{
  while(1)
  {
  }
}

/************************ (C) COPYRIGHT STMicroelectronics *****END OF FILE****/
